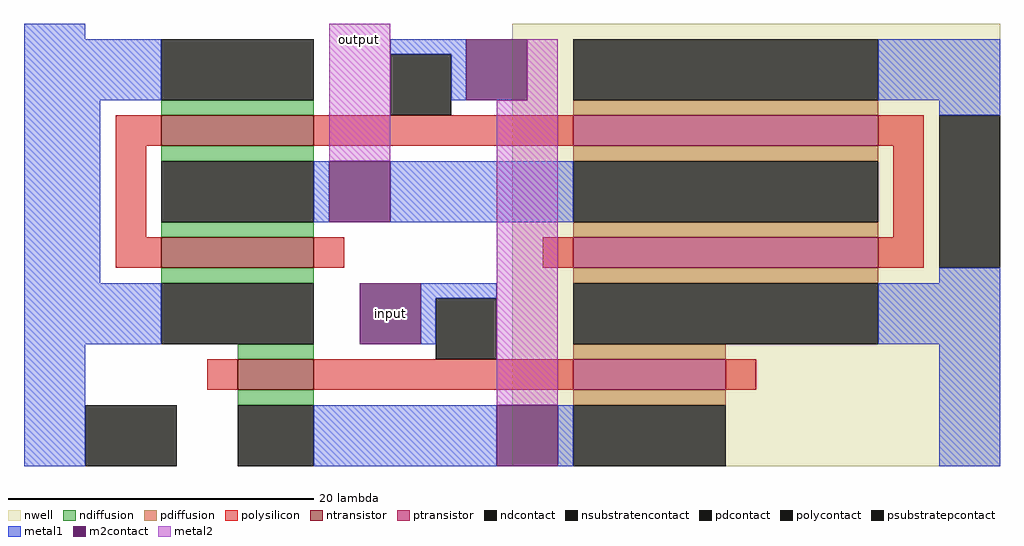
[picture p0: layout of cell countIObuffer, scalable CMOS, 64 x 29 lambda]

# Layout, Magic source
magic
tech scmos
<< nwell >>
rect 26 3 58 32
<< polysilicon >>
rect 0 24 3 26
rect 13 24 30 26
rect 50 24 53 26
rect 0 18 2 24
rect 51 18 53 24
rect 0 16 3 18
rect 13 16 15 18
rect 28 16 30 18
rect 50 16 53 18
rect 6 8 8 10
rect 13 8 30 10
rect 40 8 42 10
<< ndiffusion >>
rect 3 26 13 27
rect 3 23 13 24
rect 3 18 13 19
rect 3 15 13 16
rect 8 10 13 11
rect 8 7 13 8
<< pdiffusion >>
rect 30 26 50 27
rect 30 23 50 24
rect 30 18 50 19
rect 30 15 50 16
rect 30 10 40 11
rect 30 7 40 8
<< metal1 >>
rect -6 31 -2 32
rect -6 27 3 31
rect 18 30 23 31
rect -6 15 -1 27
rect 22 27 23 30
rect 50 27 58 31
rect 54 26 58 27
rect 13 19 14 23
rect 18 19 30 23
rect 54 15 58 16
rect -6 11 3 15
rect 20 14 25 15
rect 20 11 21 14
rect -6 3 -2 11
rect 50 11 58 15
rect 13 3 25 7
rect 29 3 30 7
rect 54 3 58 11
<< metal2 >>
rect 14 23 18 32
rect 27 27 29 31
rect 25 7 29 27
<< ntransistor >>
rect 3 24 13 26
rect 3 16 13 18
rect 8 8 13 10
<< ptransistor >>
rect 30 24 50 26
rect 30 16 50 18
rect 30 8 40 10
<< polycontact >>
rect 18 26 22 30
rect 21 10 25 14
<< ndcontact >>
rect 3 27 13 31
rect 3 19 13 23
rect 3 11 13 15
rect 8 3 13 7
<< pdcontact >>
rect 30 27 50 31
rect 30 19 50 23
rect 30 11 50 15
rect 30 3 40 7
<< m2contact >>
rect 23 27 27 31
rect 14 19 18 23
rect 16 11 20 15
rect 25 3 29 7
<< psubstratepcontact >>
rect -2 3 4 7
<< nsubstratencontact >>
rect 54 16 58 26
<< labels >>
rlabel metal2 16 31 16 31 1 output
rlabel m2contact 18 13 18 13 1 input
<< end >>
